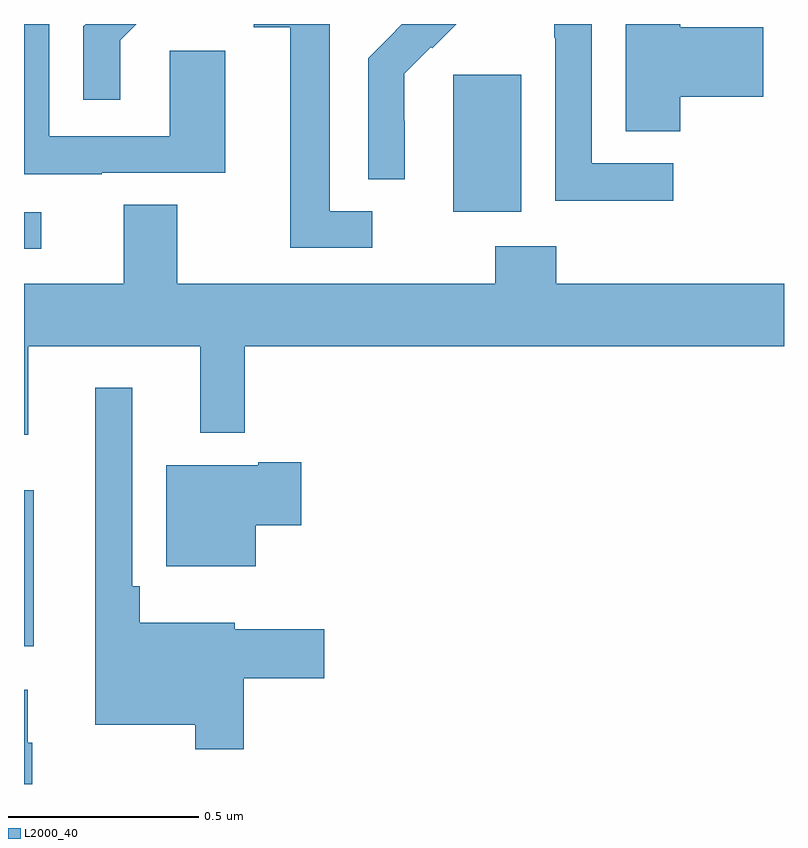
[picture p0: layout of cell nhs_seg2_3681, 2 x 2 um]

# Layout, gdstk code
import gdstk
lib = gdstk.Library(unit=1e-6, precision=1e-09)
def R(c, l, rs):  # rectangles x0, y0, x1, y1
    for r in rs: c.add(gdstk.rectangle(r[:2], r[2:], *l))
def P(c, l, *ps):  # polygons
    for p in ps: c.add(gdstk.Polygon(p, *l))
L2000_40 = (2000, 40)

nhs_seg2_3681 = lib.new_cell('nhs_seg2_3681')
R(nhs_seg2_3681, L2000_40, [(156,664.163,156.025,664.573), (156,665.208,156.046,665.304), (157.13,665.306,157.309,665.667)])
P(nhs_seg2_3681, L2000_40, [(157.727,665.609),(157.945,665.609),(157.945,665.792),(157.727,665.792),(157.727,665.8),(157.583,665.8),(157.583,665.518),(157.727,665.518)],
  [(156.253,665.757),(156.296,665.8),(156.162,665.8),(156.156,665.794),(156.156,665.601),(156.253,665.601)],
  [(156.916,665.307),(156.805,665.307),(156.805,665.8),(156.605,665.8),(156.605,665.792),(156.701,665.792),(156.701,665.211),(156.916,665.211)],
  [(156.205,665.409),(156.529,665.409),(156.529,665.729),(156.384,665.729),(156.384,665.505),(156.066,665.505),(156.066,665.8),(156,665.8),(156,665.405),(156.205,665.405)],
  [(157.002,665.546),(157.001,665.546),(157.001,665.669),(157.071,665.739),(157.074,665.736),(157.138,665.8),(156.994,665.8),(156.978,665.784),(156.979,665.783),(156.906,665.71),(156.906,665.392),(157.002,665.392)],
  [(157.708,665.433),(157.494,665.433),(157.494,665.8),(157.396,665.8),(157.396,665.764),(157.398,665.764),(157.398,665.335),(157.708,665.335)],
  [(156.011,664.952),(156.464,664.952),(156.464,664.724),(156.581,664.724),(156.581,664.952),(158,664.952),(158,665.116),(157.4,665.116),(157.4,665.215),(157.24,665.215),(157.24,665.116),(156.403,665.116),(156.403,665.324),(156.263,665.324),(156.263,665.116),(156,665.116),(156,664.719),(156.011,664.719)],
  [(156.578,664.078),(156.79,664.078),(156.79,664.207),(156.555,664.207),(156.555,664.225),(156.305,664.225),(156.305,664.321),(156.285,664.321),(156.285,664.843),(156.188,664.843),(156.188,663.956),(156.45,663.956),(156.45,663.891),(156.578,663.891)],
  [(156.61,664.481),(156.73,664.481),(156.73,664.647),(156.617,664.647),(156.617,664.639),(156.374,664.639),(156.374,664.373),(156.61,664.373)],
  [(156.022,663.908),(156.01,663.908),(156.01,664.048),(156,664.048),(156,663.8),(156.022,663.8)])

lib.write_gds('nhs_seg2_3681.gds')
